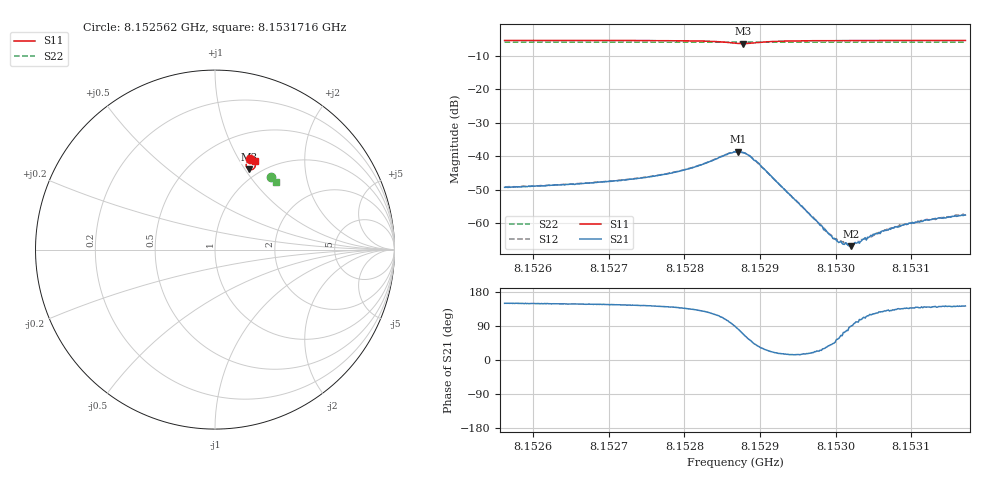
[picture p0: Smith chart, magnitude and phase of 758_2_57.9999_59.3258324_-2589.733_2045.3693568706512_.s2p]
#  HZ  S  RI  R  50.00
! Rohde & Schwarz Vector Network Analyzer
! Rohde-Schwarz,ZNB20-2Port,1311601062101988,3.16
! Created: UTC 3/21/2024, 1:24:17 AM
! freq[Hz]  re:S11  im:S11  re:S21  im:S21  re:S12  im:S12  re:S22  im:S22
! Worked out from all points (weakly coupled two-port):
!   401 points, 8.152562 GHz to 8.1531716 GHz, reference 50 ohm
!   highest |S21| = -38.57 dB at 8.1528714 GHz (marker M1); lowest = -66.9 dB at 8.1530207 GHz (marker M2)
!   lowest |S11| = -6.3 dB at 8.1528775 GHz (marker M3), VSWR 2.89, Z = 44.5 + j52.1 ohm
!   |S11| at or under -10 dB: nowhere
!   |S22| runs from -5.9 to -5.8 dB; largest |S21 - S12| = 0.00037
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8.15256203e9  0.1935 0.5046  -0.00296 0.00174  -0.00295 0.00181  0.313 0.4038
8.15266414e9  0.2022 0.5007  -0.00333 0.0021  -0.00327 0.00216  0.3182 0.3997
8.152719e9  0.2078 0.498  -0.00365 0.00253  -0.00359 0.00256  0.3208 0.3973
8.15276624e9  0.2139 0.4939  -0.0041 0.00322  -0.00405 0.00332  0.3232 0.3952
8.15281044e9  0.2213 0.4854  -0.00467 0.00487  -0.00463 0.00497  0.3254 0.3932
8.15284701e9  0.2245 0.4648  -0.00405 0.00888  -0.00386 0.00898  0.3269 0.3907
8.15286682e9  0.2076 0.4465  0.000182 0.0117  0.0005 0.0117  0.3268 0.3896
8.15287139e9  0.1997 0.4451  0.00189 0.0116  0.00222 0.0116  0.3269 0.3895
8.15287749e9  0.1887 0.4474  0.00409 0.0106  0.00433 0.0105  0.3267 0.3895
8.15288511e9  0.1781 0.4559  0.00595 0.00843  0.00608 0.00842  0.3268 0.3896
8.1528973e9  0.1733 0.473  0.00646 0.00479  0.00629 0.00469  0.3275 0.39
8.15296893e9  0.1987 0.4976  0.00116 0.000409  0.0012 0.000409  0.332 0.3876
8.15298874e9  0.2027 0.4976  0.000608 0.000426  0.000619 0.000433  0.3331 0.3866
8.15299941e9  0.2047 0.4973  0.000397 0.000425  0.00036 0.00045  0.3336 0.386
8.15300703e9  0.2059 0.4974  0.000228 0.000487  0.000238 0.000484  0.334 0.3858
8.15301465e9  0.2069 0.4972  0.000102 0.000484  8.58e-05 0.000491  0.3344 0.3854
8.15302074e9  0.2077 0.497  -6.64e-07 0.000453  -6.77e-06 0.000495  0.3348 0.3852
8.1530497e9  0.2113 0.4963  -0.00036 0.00058  -0.000306 0.000578  0.336 0.3838
8.15307103e9  0.2137 0.4956  -0.000528 0.000641  -0.00055 0.000632  0.337 0.3829
8.15309084e9  0.2157 0.4951  -0.000689 0.000655  -0.000698 0.000662  0.3381 0.3822
8.1531198e9  0.2185 0.4942  -0.000849 0.000729  -0.000858 0.000746  0.3394 0.3809
8.15317161e9  0.2229 0.4926  -0.00105 0.000801  -0.00105 0.000829  0.342 0.3786
